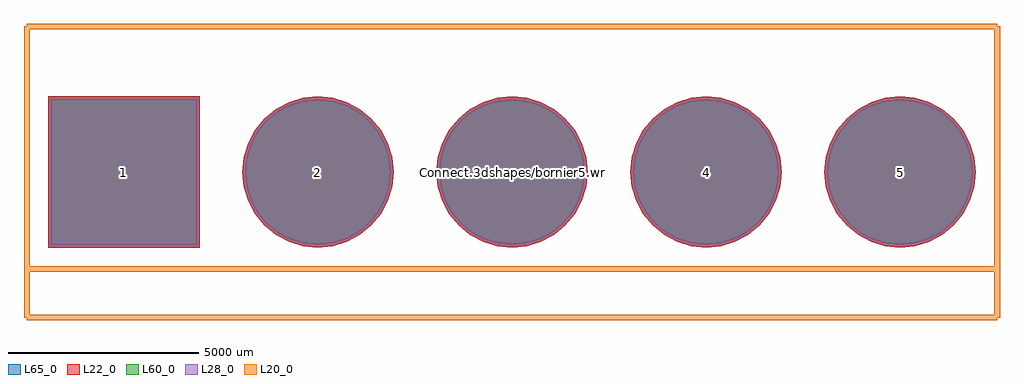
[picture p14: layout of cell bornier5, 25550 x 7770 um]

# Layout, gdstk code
import gdstk
lib = gdstk.Library(unit=1e-6, precision=1e-09)
def R(c, l, rs):  # rectangles x0, y0, x1, y1
    for r in rs: c.add(gdstk.rectangle(r[:2], r[2:], *l))
def P(c, l, *ps):  # polygons
    for p in ps: c.add(gdstk.Polygon(p, *l))
L20_0 = (20, 0)
L22_0 = (22, 0)
L28_0 = (28, 0)
L60_0 = (60, 0)
L65_0 = (65, 0)

bornier5 = lib.new_cell('bornier5')
R(bornier5, L22_0, [(-12140,-1980,-8180,1980)])
P(bornier5, L22_0, [(12140,0),(12101.955,386.279),(11989.281,757.713),(11806.31,1100.029),(11560.071,1400.071),(11260.029,1646.31),(10917.713,1829.281),(10546.279,1941.955),(10160,1980),(9773.721,1941.955),(9402.287,1829.281),(9059.971,1646.31),(8759.929,1400.071),(8513.69,1100.029),(8330.719,757.713),(8218.045,386.279),(8180,0),(8218.045,-386.279),(8330.719,-757.713),(8513.69,-1100.029),(8759.929,-1400.071),(9059.971,-1646.31),(9402.287,-1829.281),(9773.721,-1941.955),(10160,-1980),(10546.279,-1941.955),(10917.713,-1829.281),(11260.029,-1646.31),(11560.071,-1400.071),(11806.31,-1100.029),(11989.281,-757.713),(12101.955,-386.279)],
  [(7060,0),(7021.955,386.279),(6909.281,757.713),(6726.31,1100.029),(6480.071,1400.071),(6180.029,1646.31),(5837.713,1829.281),(5466.279,1941.955),(5080,1980),(4693.721,1941.955),(4322.287,1829.281),(3979.971,1646.31),(3679.929,1400.071),(3433.69,1100.029),(3250.719,757.713),(3138.045,386.279),(3100,0),(3138.045,-386.279),(3250.719,-757.713),(3433.69,-1100.029),(3679.929,-1400.071),(3979.971,-1646.31),(4322.287,-1829.281),(4693.721,-1941.955),(5080,-1980),(5466.279,-1941.955),(5837.713,-1829.281),(6180.029,-1646.31),(6480.071,-1400.071),(6726.31,-1100.029),(6909.281,-757.713),(7021.955,-386.279)],
  [(1980,0),(1941.955,386.279),(1829.281,757.713),(1646.31,1100.029),(1400.071,1400.071),(1100.029,1646.31),(757.713,1829.281),(386.279,1941.955),(0,1980),(-386.279,1941.955),(-757.713,1829.281),(-1100.029,1646.31),(-1400.071,1400.071),(-1646.31,1100.029),(-1829.281,757.713),(-1941.955,386.279),(-1980,0),(-1941.955,-386.279),(-1829.281,-757.713),(-1646.31,-1100.029),(-1400.071,-1400.071),(-1100.029,-1646.31),(-757.713,-1829.281),(-386.279,-1941.955),(0,-1980),(386.279,-1941.955),(757.713,-1829.281),(1100.029,-1646.31),(1400.071,-1400.071),(1646.31,-1100.029),(1829.281,-757.713),(1941.955,-386.279)],
  [(-3100,0),(-3138.045,386.279),(-3250.719,757.713),(-3433.69,1100.029),(-3679.929,1400.071),(-3979.971,1646.31),(-4322.287,1829.281),(-4693.721,1941.955),(-5080,1980),(-5466.279,1941.955),(-5837.713,1829.281),(-6180.029,1646.31),(-6480.071,1400.071),(-6726.31,1100.029),(-6909.281,757.713),(-7021.955,386.279),(-7060,0),(-7021.955,-386.279),(-6909.281,-757.713),(-6726.31,-1100.029),(-6480.071,-1400.071),(-6180.029,-1646.31),(-5837.713,-1829.281),(-5466.279,-1941.955),(-5080,-1980),(-4693.721,-1941.955),(-4322.287,-1829.281),(-3979.971,-1646.31),(-3679.929,-1400.071),(-3433.69,-1100.029),(-3250.719,-757.713),(-3138.045,-386.279)])
R(bornier5, L28_0, [(-12065,-1905,-8255,1905)])
P(bornier5, L28_0, [(12065,0),(12028.396,371.647),(11919.991,729.012),(11743.95,1058.361),(11507.038,1347.038),(11218.361,1583.95),(10889.012,1759.991),(10531.647,1868.396),(10160,1905),(9788.353,1868.396),(9430.988,1759.991),(9101.639,1583.95),(8812.962,1347.038),(8576.05,1058.361),(8400.009,729.012),(8291.604,371.647),(8255,0),(8291.604,-371.647),(8400.009,-729.012),(8576.05,-1058.361),(8812.962,-1347.038),(9101.639,-1583.95),(9430.988,-1759.991),(9788.353,-1868.396),(10160,-1905),(10531.647,-1868.396),(10889.012,-1759.991),(11218.361,-1583.95),(11507.038,-1347.038),(11743.95,-1058.361),(11919.991,-729.012),(12028.396,-371.647)],
  [(6985,0),(6948.396,371.647),(6839.991,729.012),(6663.95,1058.361),(6427.038,1347.038),(6138.361,1583.95),(5809.012,1759.991),(5451.647,1868.396),(5080,1905),(4708.353,1868.396),(4350.988,1759.991),(4021.639,1583.95),(3732.962,1347.038),(3496.05,1058.361),(3320.009,729.012),(3211.604,371.647),(3175,0),(3211.604,-371.647),(3320.009,-729.012),(3496.05,-1058.361),(3732.962,-1347.038),(4021.639,-1583.95),(4350.988,-1759.991),(4708.353,-1868.396),(5080,-1905),(5451.647,-1868.396),(5809.012,-1759.991),(6138.361,-1583.95),(6427.038,-1347.038),(6663.95,-1058.361),(6839.991,-729.012),(6948.396,-371.647)],
  [(1905,0),(1868.396,371.647),(1759.991,729.012),(1583.95,1058.361),(1347.038,1347.038),(1058.361,1583.95),(729.012,1759.991),(371.647,1868.396),(0,1905),(-371.647,1868.396),(-729.012,1759.991),(-1058.361,1583.95),(-1347.038,1347.038),(-1583.95,1058.361),(-1759.991,729.012),(-1868.396,371.647),(-1905,0),(-1868.396,-371.647),(-1759.991,-729.012),(-1583.95,-1058.361),(-1347.038,-1347.038),(-1058.361,-1583.95),(-729.012,-1759.991),(-371.647,-1868.396),(0,-1905),(371.647,-1868.396),(729.012,-1759.991),(1058.361,-1583.95),(1347.038,-1347.038),(1583.95,-1058.361),(1759.991,-729.012),(1868.396,-371.647)],
  [(-3175,0),(-3211.604,371.647),(-3320.009,729.012),(-3496.05,1058.361),(-3732.962,1347.038),(-4021.639,1583.95),(-4350.988,1759.991),(-4708.353,1868.396),(-5080,1905),(-5451.647,1868.396),(-5809.012,1759.991),(-6138.361,1583.95),(-6427.038,1347.038),(-6663.95,1058.361),(-6839.991,729.012),(-6948.396,371.647),(-6985,0),(-6948.396,-371.647),(-6839.991,-729.012),(-6663.95,-1058.361),(-6427.038,-1347.038),(-6138.361,-1583.95),(-5809.012,-1759.991),(-5451.647,-1868.396),(-5080,-1905),(-4708.353,-1868.396),(-4350.988,-1759.991),(-4021.639,-1583.95),(-3732.962,-1347.038),(-3496.05,-1058.361),(-3320.009,-729.012),(-3211.604,-371.647)])
R(bornier5, L60_0, [(-12065,-1905,-8255,1905)])
P(bornier5, L60_0, [(12065,0),(12028.396,371.647),(11919.991,729.012),(11743.95,1058.361),(11507.038,1347.038),(11218.361,1583.95),(10889.012,1759.991),(10531.647,1868.396),(10160,1905),(9788.353,1868.396),(9430.988,1759.991),(9101.639,1583.95),(8812.962,1347.038),(8576.05,1058.361),(8400.009,729.012),(8291.604,371.647),(8255,0),(8291.604,-371.647),(8400.009,-729.012),(8576.05,-1058.361),(8812.962,-1347.038),(9101.639,-1583.95),(9430.988,-1759.991),(9788.353,-1868.396),(10160,-1905),(10531.647,-1868.396),(10889.012,-1759.991),(11218.361,-1583.95),(11507.038,-1347.038),(11743.95,-1058.361),(11919.991,-729.012),(12028.396,-371.647)],
  [(6985,0),(6948.396,371.647),(6839.991,729.012),(6663.95,1058.361),(6427.038,1347.038),(6138.361,1583.95),(5809.012,1759.991),(5451.647,1868.396),(5080,1905),(4708.353,1868.396),(4350.988,1759.991),(4021.639,1583.95),(3732.962,1347.038),(3496.05,1058.361),(3320.009,729.012),(3211.604,371.647),(3175,0),(3211.604,-371.647),(3320.009,-729.012),(3496.05,-1058.361),(3732.962,-1347.038),(4021.639,-1583.95),(4350.988,-1759.991),(4708.353,-1868.396),(5080,-1905),(5451.647,-1868.396),(5809.012,-1759.991),(6138.361,-1583.95),(6427.038,-1347.038),(6663.95,-1058.361),(6839.991,-729.012),(6948.396,-371.647)],
  [(1905,0),(1868.396,371.647),(1759.991,729.012),(1583.95,1058.361),(1347.038,1347.038),(1058.361,1583.95),(729.012,1759.991),(371.647,1868.396),(0,1905),(-371.647,1868.396),(-729.012,1759.991),(-1058.361,1583.95),(-1347.038,1347.038),(-1583.95,1058.361),(-1759.991,729.012),(-1868.396,371.647),(-1905,0),(-1868.396,-371.647),(-1759.991,-729.012),(-1583.95,-1058.361),(-1347.038,-1347.038),(-1058.361,-1583.95),(-729.012,-1759.991),(-371.647,-1868.396),(0,-1905),(371.647,-1868.396),(729.012,-1759.991),(1058.361,-1583.95),(1347.038,-1347.038),(1583.95,-1058.361),(1759.991,-729.012),(1868.396,-371.647)],
  [(-3175,0),(-3211.604,371.647),(-3320.009,729.012),(-3496.05,1058.361),(-3732.962,1347.038),(-4021.639,1583.95),(-4350.988,1759.991),(-4708.353,1868.396),(-5080,1905),(-5451.647,1868.396),(-5809.012,1759.991),(-6138.361,1583.95),(-6427.038,1347.038),(-6663.95,1058.361),(-6839.991,729.012),(-6948.396,371.647),(-6985,0),(-6948.396,-371.647),(-6839.991,-729.012),(-6663.95,-1058.361),(-6427.038,-1347.038),(-6138.361,-1583.95),(-5809.012,-1759.991),(-5451.647,-1868.396),(-5080,-1905),(-4708.353,-1868.396),(-4350.988,-1759.991),(-4021.639,-1583.95),(-3732.962,-1347.038),(-3496.05,-1058.361),(-3320.009,-729.012),(-3211.604,-371.647)])
R(bornier5, L65_0, [(-12140,-1980,-8180,1980)])
P(bornier5, L65_0, [(12140,0),(12101.955,386.279),(11989.281,757.713),(11806.31,1100.029),(11560.071,1400.071),(11260.029,1646.31),(10917.713,1829.281),(10546.279,1941.955),(10160,1980),(9773.721,1941.955),(9402.287,1829.281),(9059.971,1646.31),(8759.929,1400.071),(8513.69,1100.029),(8330.719,757.713),(8218.045,386.279),(8180,0),(8218.045,-386.279),(8330.719,-757.713),(8513.69,-1100.029),(8759.929,-1400.071),(9059.971,-1646.31),(9402.287,-1829.281),(9773.721,-1941.955),(10160,-1980),(10546.279,-1941.955),(10917.713,-1829.281),(11260.029,-1646.31),(11560.071,-1400.071),(11806.31,-1100.029),(11989.281,-757.713),(12101.955,-386.279)],
  [(7060,0),(7021.955,386.279),(6909.281,757.713),(6726.31,1100.029),(6480.071,1400.071),(6180.029,1646.31),(5837.713,1829.281),(5466.279,1941.955),(5080,1980),(4693.721,1941.955),(4322.287,1829.281),(3979.971,1646.31),(3679.929,1400.071),(3433.69,1100.029),(3250.719,757.713),(3138.045,386.279),(3100,0),(3138.045,-386.279),(3250.719,-757.713),(3433.69,-1100.029),(3679.929,-1400.071),(3979.971,-1646.31),(4322.287,-1829.281),(4693.721,-1941.955),(5080,-1980),(5466.279,-1941.955),(5837.713,-1829.281),(6180.029,-1646.31),(6480.071,-1400.071),(6726.31,-1100.029),(6909.281,-757.713),(7021.955,-386.279)],
  [(1980,0),(1941.955,386.279),(1829.281,757.713),(1646.31,1100.029),(1400.071,1400.071),(1100.029,1646.31),(757.713,1829.281),(386.279,1941.955),(0,1980),(-386.279,1941.955),(-757.713,1829.281),(-1100.029,1646.31),(-1400.071,1400.071),(-1646.31,1100.029),(-1829.281,757.713),(-1941.955,386.279),(-1980,0),(-1941.955,-386.279),(-1829.281,-757.713),(-1646.31,-1100.029),(-1400.071,-1400.071),(-1100.029,-1646.31),(-757.713,-1829.281),(-386.279,-1941.955),(0,-1980),(386.279,-1941.955),(757.713,-1829.281),(1100.029,-1646.31),(1400.071,-1400.071),(1646.31,-1100.029),(1829.281,-757.713),(1941.955,-386.279)],
  [(-3100,0),(-3138.045,386.279),(-3250.719,757.713),(-3433.69,1100.029),(-3679.929,1400.071),(-3979.971,1646.31),(-4322.287,1829.281),(-4693.721,1941.955),(-5080,1980),(-5466.279,1941.955),(-5837.713,1829.281),(-6180.029,1646.31),(-6480.071,1400.071),(-6726.31,1100.029),(-6909.281,757.713),(-7021.955,386.279),(-7060,0),(-7021.955,-386.279),(-6909.281,-757.713),(-6726.31,-1100.029),(-6480.071,-1400.071),(-6180.029,-1646.31),(-5837.713,-1829.281),(-5466.279,-1941.955),(-5080,-1980),(-4693.721,-1941.955),(-4322.287,-1829.281),(-3979.971,-1646.31),(-3679.929,-1400.071),(-3433.69,-1100.029),(-3250.719,-757.713),(-3138.045,-386.279)])
bornier5.add(gdstk.FlexPath([(-12700,3810),(-12700,-3810)], 149.998, ends="flush", simple_path=True, layer=20, datatype=0))  # L20_0
bornier5.add(gdstk.FlexPath([(12700,3810),(12700,-3810)], 149.998, ends="flush", simple_path=True, layer=20, datatype=0))  # L20_0
bornier5.add(gdstk.FlexPath([(-12700,3810),(12700,3810)], 149.998, ends="flush", simple_path=True, layer=20, datatype=0))  # L20_0
bornier5.add(gdstk.FlexPath([(-12700,-2540),(12700,-2540)], 149.998, ends="flush", simple_path=True, layer=20, datatype=0))  # L20_0
bornier5.add(gdstk.FlexPath([(-12700,-3810),(12700,-3810)], 149.998, ends="flush", simple_path=True, layer=20, datatype=0))  # L20_0
bornier5.add(gdstk.Label('Connect.3dshapes/bornier5.wrl', (0,0), layer=12, texttype=0))
bornier5.add(gdstk.Label('5', (10160,0), layer=28, texttype=0))
bornier5.add(gdstk.Label('4', (5080,0), layer=28, texttype=0))
bornier5.add(gdstk.Label('1', (-10160,0), layer=28, texttype=0))
bornier5.add(gdstk.Label('3', (0,0), layer=28, texttype=0))
bornier5.add(gdstk.Label('2', (-5080,0), layer=28, texttype=0))
bornier5.add(gdstk.Label('type', (0,-5080), layer=9, texttype=0))
bornier5.add(gdstk.Label('devicename', (0,5080), layer=9, texttype=0))

lib.write_gds('bornier5.gds')
